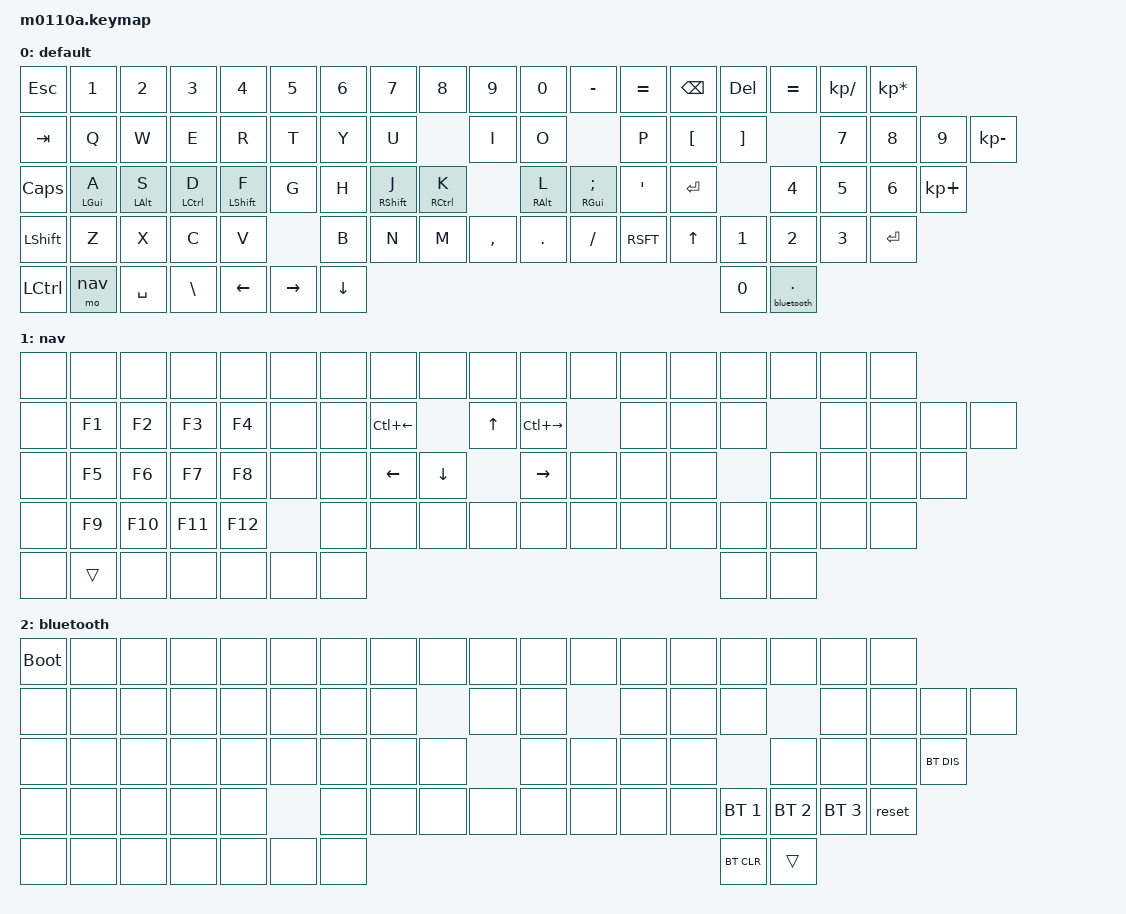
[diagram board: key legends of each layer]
/*
 * Copyright (c) 2020 The ZMK Contributors
 *
 * SPDX-License-Identifier: MIT
 */

#include <behaviors.dtsi>
#include <dt-bindings/zmk/keys.h>
#include <dt-bindings/zmk/bt.h>
#include <dt-bindings/zmk/outputs.h>

#define default   0
#define nav       1
#define bluetooth 2

/ {
	combos {
	compatible = "zmk,combos";
		combo_bpc {
			timeout-ms = <27>;
			key-positions = <43 44>;
			bindings = <&kp BSPC>;
		};
		combo_del {
			timeout-ms = <27>;
			key-positions = <26 27>;
			bindings = <&kp DELETE>;
		};
		combo_ae {
            timeout-ms = <27>;
            key-positions = <36 37>;
            bindings = <&kp RA(Q) >;
        };
        combo_ue {
            timeout-ms = <27>;
            key-positions = <25 26>;
            bindings = <&kp RA(Y) >;
        };
        combo_oe {
            timeout-ms = <27>;
            key-positions = <27 28>;
            bindings = <&kp RA(P) >;
        };
        combo_ss {
            timeout-ms = <27>;
            key-positions = <37 38>;
            bindings = <&kp RA(S) >;
        };
    };
};

/ {
        behaviors {
        am: alpha_mods {
            compatible = "zmk,behavior-hold-tap";
            label = "ALPHA_MODS";
            #binding-cells = <2>;
            tapping_term_ms = <170>;
            flavor = "tap-preferred";
            bindings = <&kp>, <&kp>;
        };
    };
};

/ {
    keymap {
        compatible = "zmk,keymap";

        default {
           bindings = <
            &kp ESC &kp N1 &kp N2 &kp N3 &kp N4 &kp N5 &kp N6 &kp N7 &kp N8 &kp N9 &kp N0 &kp MINUS &kp EQUAL &kp BSPC      &kp DEL   &kp EQUAL &kp KP_SLASH &kp KP_MULTIPLY
            &kp TAB &kp Q  &kp W  &kp E  &kp R  &kp T  &kp Y  &kp U  &kp I  &kp O  &kp P  &kp LBKT  &kp RBKT                &kp NUM_7 &kp NUM_8 &kp NUM_9 &kp KP_MINUS
            &kp CAPS &am LGUI A &am LALT S &am LCTRL D &am LSHFT F &kp G &kp H &am RSHFT J &am RCTRL K &am RALT L &am RGUI SEMI &kp QUOT &kp ENTER              &kp NUM_4 &kp NUM_5 &kp NUM_6 &kp KP_PLUS
            &kp LSHFT &kp Z &kp X &kp C &kp V &kp B &kp N &kp M &kp COMMA &kp DOT &kp SLASH &kp RSFT &kp UP                 &kp NUM_1 &kp NUM_2 &kp NUM_3 &kp ENTER 
            &kp LCTRL &mo nav &kp SPACE &kp BSLH  &kp LEFT &kp RIGHT &kp DOWN                                              &kp NUM_0 &lt bluetooth DOT
            >;
        };
        nav {
           bindings = <
            &none   &none  &none  &none  &none  &none  &none  &none  &none  &none  &none  &none     &none     &none         &none     &none     &none     &none
            &none   &kp F1 &kp F2 &kp F3 &kp F4 &none  &none  &kp LC(LEFT)  &kp UP  &kp LC(RIGHT)  &none  &none     &none                   &none     &none     &none     &none
            &none   &kp F5 &kp F6 &kp F7 &kp F8 &none  &none  &kp LEFT  &kp DOWN  &kp RIGHT  &none  &none     &none                   &none     &none     &none     &none
            &none   &kp F9 &kp F10 &kp F11 &kp F12  &none  &none  &none  &none  &none  &none  &none     &none                   &none     &none     &none     &none
            &none   &trans &none  &none  &none  &none  &none                                                                &none     &none
            >;
        };
        bluetooth {
           bindings = <
            &bootloader   &none  &none  &none  &none  &none  &none  &none  &none  &none  &none  &none     &none     &none         &none     &none     &none     &none
            &none   &none  &none  &none  &none  &none  &none  &none  &none  &none  &none  &none     &none                   &none     &none     &none     &none
            &none   &none  &none  &none  &none  &none  &none  &none  &none  &none  &none  &none     &none                   &none     &none     &none     &bt BT_DIS
            &none   &none  &none  &none  &none  &none  &none  &none  &none  &none  &none  &none     &none                   &bt BT_SEL 1    &bt BT_SEL 2     &bt BT_SEL 3     &reset
            &none   &none  &none  &none  &none  &none  &none                                                                &bt BT_CLR     &trans
            >;
        };
    };
};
